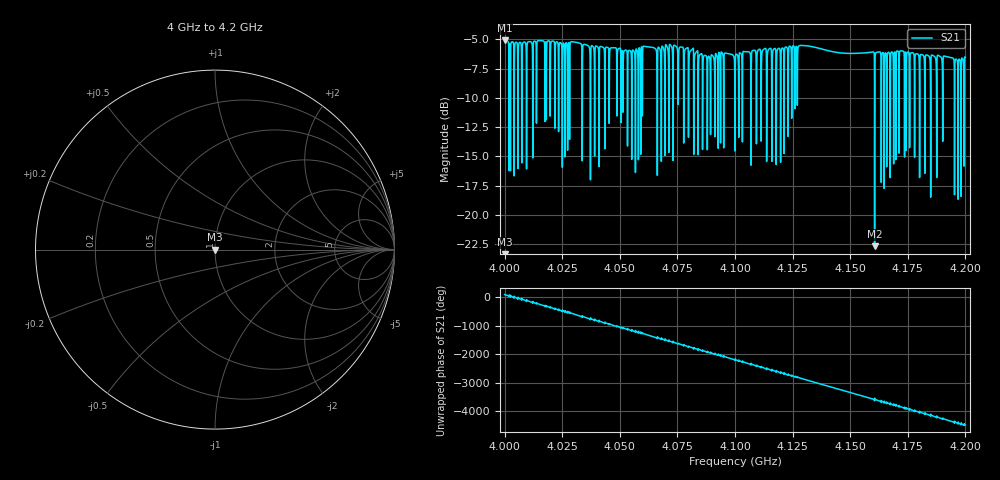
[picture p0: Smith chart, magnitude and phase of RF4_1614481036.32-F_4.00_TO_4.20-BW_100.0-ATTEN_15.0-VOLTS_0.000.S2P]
!Keysight Technologies,E5063A,MY54502693,A.05.04
!Date: Sat Feb 27 19:57:35 2021
!Data & Calibration Information:
!Freq	S11:NONE(--)	S21:NONE(--)	S12:NONE(--)	S22:NONE(--)
# Hz S RI R 50
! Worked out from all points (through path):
!   10000 points, 4 GHz to 4.2 GHz, reference 50 ohm
!   highest |S21| = -5.09 dB at 4 GHz (marker M1); lowest = -22.7 dB at 4.1606 GHz (marker M2)
!   lowest |S11| = - dB at 4 GHz (marker M3), VSWR 1.00, Z = 50 + j0 ohm
!   |S11| at or under -10 dB: start of sweep to end of sweep
!   S12 and S22 are empty: the file has one direction only
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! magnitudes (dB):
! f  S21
! 4 GHz  -5.1
! 4 GHz  -5.1
! 4.005 GHz  -5.2
! 4.0152 GHz  -5.1
! 4.0255 GHz  -5.3
! 4.0294 GHz  -5.2
! 4.0333 GHz  -5.4
! 4.0359 GHz  -5.5
! 4.0382 GHz  -5.6
! 4.0475 GHz  -5.7
! 4.0589 GHz  -6.3
! 4.061 GHz  -5.6
! 4.0667 GHz  -5.7
! 4.0742 GHz  -5.6
! 4.0885 GHz  -6.4
! 4.0963 GHz  -6.2
! 4.1 GHz  -14.5
! 4.1334 GHz  -5.6
! 4.1606 GHz  -22.7
! 4.1667 GHz  -6.1
! 4.1724 GHz  -6.0
! 4.2 GHz  -6.5
